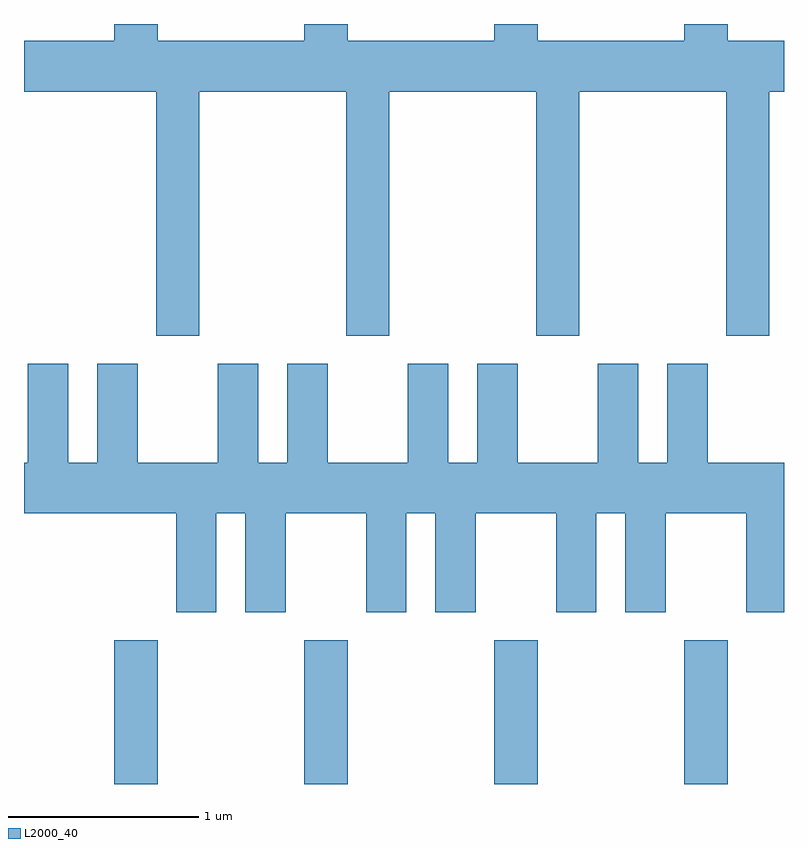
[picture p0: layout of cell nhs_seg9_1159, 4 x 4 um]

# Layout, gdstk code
import gdstk
lib = gdstk.Library(unit=1e-6, precision=1e-09)
def R(c, l, rs):  # rectangles x0, y0, x1, y1
    for r in rs: c.add(gdstk.rectangle(r[:2], r[2:], *l))
def A(c, l, x, y, w, h, nx, ny, dx, dy):  # array of equal rectangles
    R(c, l, [(x+i*dx, y+j*dy, x+i*dx+w, y+j*dy+h) for i in range(nx) for j in range(ny)])
def P(c, l, *ps):  # polygons
    for p in ps: c.add(gdstk.Polygon(p, *l))
L2000_40 = (2000, 40)

nhs_seg9_1159 = lib.new_cell('nhs_seg9_1159')
A(nhs_seg9_1159, L2000_40, 220.086, 1950.432, 0.228, 0.757, 4, 1, 1, 0)
P(nhs_seg9_1159, L2000_40, [(220.534,1954.076),(221.306,1954.076),(221.306,1952.791),(221.534,1952.791),(221.534,1954.076),(222.306,1954.076),(222.306,1952.791),(222.534,1952.791),(222.534,1954.076),(223.306,1954.076),(223.306,1952.791),(223.534,1952.791),(223.534,1954.076),(223.611,1954.076),(223.611,1954.344),(223.314,1954.344),(223.314,1954.432),(223.086,1954.432),(223.086,1954.344),(222.314,1954.344),(222.314,1954.432),(222.086,1954.432),(222.086,1954.344),(221.314,1954.344),(221.314,1954.432),(221.086,1954.432),(221.086,1954.344),(220.314,1954.344),(220.314,1954.432),(220.086,1954.432),(220.086,1954.344),(219.611,1954.344),(219.611,1954.076),(220.306,1954.076),(220.306,1952.791),(220.534,1952.791)],
  [(219.996,1952.644),(219.996,1952.124),(219.844,1952.124),(219.844,1952.644),(219.631,1952.644),(219.631,1952.124),(219.611,1952.124),(219.611,1951.856),(220.411,1951.856),(220.411,1951.336),(220.624,1951.336),(220.624,1951.856),(220.776,1951.856),(220.776,1951.336),(220.989,1951.336),(220.989,1951.856),(221.411,1951.856),(221.411,1951.336),(221.624,1951.336),(221.624,1951.856),(221.776,1951.856),(221.776,1951.336),(221.989,1951.336),(221.989,1951.856),(222.411,1951.856),(222.411,1951.336),(222.624,1951.336),(222.624,1951.856),(222.776,1951.856),(222.776,1951.336),(222.989,1951.336),(222.989,1951.856),(223.411,1951.856),(223.411,1951.336),(223.611,1951.336),(223.611,1952.124),(223.209,1952.124),(223.209,1952.644),(222.996,1952.644),(222.996,1952.124),(222.844,1952.124),(222.844,1952.644),(222.631,1952.644),(222.631,1952.124),(222.209,1952.124),(222.209,1952.644),(221.996,1952.644),(221.996,1952.124),(221.844,1952.124),(221.844,1952.644),(221.631,1952.644),(221.631,1952.124),(221.209,1952.124),(221.209,1952.644),(220.996,1952.644),(220.996,1952.124),(220.844,1952.124),(220.844,1952.644),(220.631,1952.644),(220.631,1952.124),(220.209,1952.124),(220.209,1952.644)])

lib.write_gds('nhs_seg9_1159.gds')
